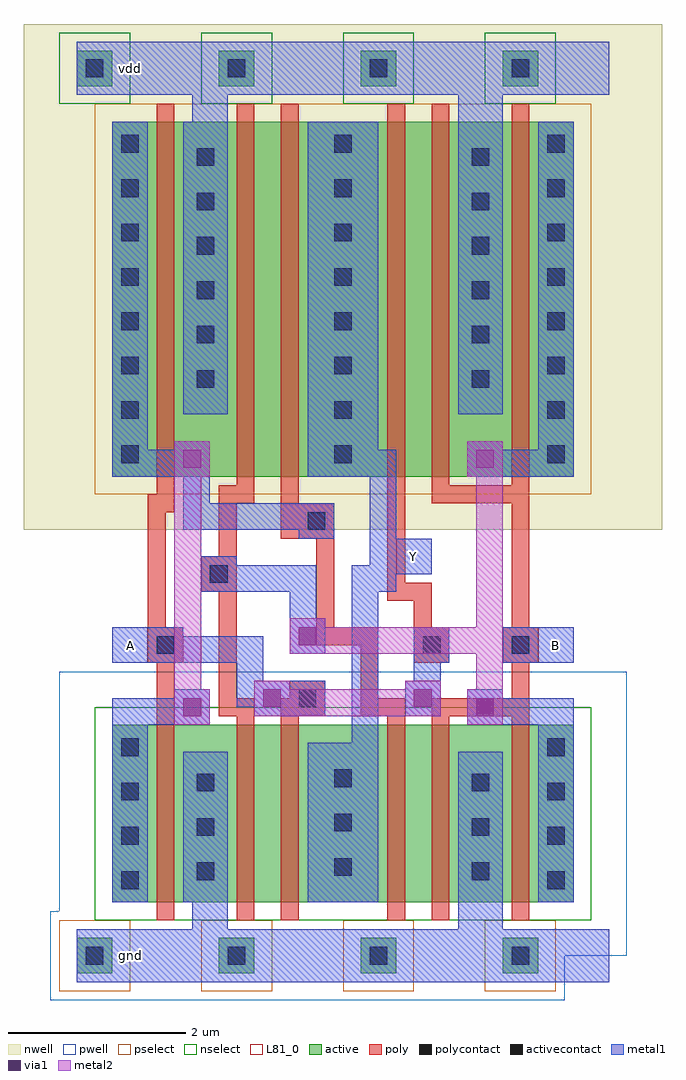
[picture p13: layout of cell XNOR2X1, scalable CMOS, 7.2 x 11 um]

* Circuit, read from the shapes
.subckt XNOR2X1 A B Y gnd vdd
M1 gnd A n1 gnd nfet w=2u l=0.2u
M2 n2 n3 gnd gnd nfet w=2u l=0.2u
M3 Y A n2 gnd nfet w=2u l=0.2u
M4 n4 n1 Y gnd nfet w=2u l=0.2u
M5 gnd B n4 gnd nfet w=2u l=0.2u
M6 n3 B gnd gnd nfet w=2u l=0.2u
M7 vdd A n1 vdd pfet w=4u l=0.2u
M8 n5 n3 vdd vdd pfet w=4u l=0.2u
M9 Y n1 n5 vdd pfet w=4u l=0.2u
M10 n6 A Y vdd pfet w=4u l=0.2u
M11 vdd B n6 vdd pfet w=4u l=0.2u
M12 n3 B vdd vdd pfet w=4u l=0.2u
.ends

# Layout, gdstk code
import gdstk
lib = gdstk.Library(unit=1e-6, precision=1e-09)
def R(c, l, rs):  # rectangles x0, y0, x1, y1
    for r in rs: c.add(gdstk.rectangle(r[:2], r[2:], *l))
def A(c, l, x, y, w, h, nx, ny, dx, dy):  # array of equal rectangles
    R(c, l, [(x+i*dx, y+j*dy, x+i*dx+w, y+j*dy+h) for i in range(nx) for j in range(ny)])
pwell = (41, 0)
nwell = (42, 0)
active = (43, 0)
pselect = (44, 0)
nselect = (45, 0)
poly = (46, 0)
polycontact = (47, 0)
activecontact = (48, 0)
metal1 = (49, 0)
via1 = (50, 0)
metal2 = (51, 0)
L81_0 = (81, 0)

xnor2x1 = lib.new_cell('XNOR2X1')
R(xnor2x1, pwell, [(-0.5,-0.5,5.3,0), (-0.5,0,6,0.5), (-0.4,0.5,6,3.2)])
R(xnor2x1, nwell, [(-0.8,4.8,6.4,10.5)])
A(xnor2x1, active, -0.2, -0.2, 0.4, 0.4, 4, 2, 1.6, 10)
R(xnor2x1, active, [(0.2,0.6,5.4,2.6), (0.2,5.4,5.4,9.4)])
A(xnor2x1, pselect, -0.4, -0.4, 0.8, 0.8, 4, 1, 1.6, 0)
R(xnor2x1, pselect, [(0,5.2,5.6,9.6)])
A(xnor2x1, nselect, -0.4, 9.6, 0.8, 0.8, 4, 1, 1.6, 0)
R(xnor2x1, nselect, [(0,0.4,5.6,2.8)])
R(xnor2x1, poly, [(0.7,0.4,0.9,3.3), (1.6,0.4,1.8,2.7), (2.1,0.4,2.3,2.7), (3.3,0.4,3.5,2.7), (3.8,0.4,4,2.7), (4.7,0.4,4.9,2.7), (1.4,2.7,1.8,2.9), (2.1,2.7,2.6,2.9), (3,2.7,3.5,2.9), (3.8,2.7,4.9,2.9), (1.4,2.9,1.6,4.1), (2.2,2.9,2.6,3.1), (3,2.9,3.2,3.5), (4.7,2.9,4.9,3.3), (0.6,3.3,1,3.7), (3.6,3.3,4,3.7), (4.6,3.3,5,3.7), (2.5,3.5,3.2,3.7), (0.6,3.7,0.8,5), (2.5,3.7,2.7,4.7), (3.6,3.7,3.8,4), (4.7,3.7,4.9,5.1), (3.3,4,3.8,4.2), (1.2,4.1,1.6,4.5), (3.3,4.2,3.5,9.6), (1.4,4.5,1.6,5.1), (2.1,4.7,2.7,5.1), (0.6,5,0.9,5.2), (1.4,5.1,1.8,5.3), (2.1,5.1,2.3,9.6), (3.8,5.1,4.9,5.3), (0.7,5.2,0.9,9.6), (1.6,5.3,1.8,9.6), (3.8,5.3,4,9.6), (4.7,5.3,4.9,9.6)])
R(xnor2x1, polycontact, [(2.3,2.8,2.5,3), (0.7,3.4,0.9,3.6), (3.7,3.4,3.9,3.6), (4.7,3.4,4.9,3.6), (1.3,4.2,1.5,4.4), (2.4,4.8,2.6,5)])
A(xnor2x1, activecontact, -0.1, -0.1, 0.2, 0.2, 4, 2, 1.6, 10)
A(xnor2x1, activecontact, 0.3, 0.75, 0.2, 0.2, 1, 4, 0, 0.5)
A(xnor2x1, activecontact, 5.1, 0.75, 0.2, 0.2, 1, 4, 0, 0.5)
A(xnor2x1, activecontact, 1.15, 0.85, 0.2, 0.2, 1, 3, 0, 0.5)
A(xnor2x1, activecontact, 4.25, 0.85, 0.2, 0.2, 1, 3, 0, 0.5)
A(xnor2x1, activecontact, 2.7, 0.9, 0.2, 0.2, 1, 3, 0, 0.5)
A(xnor2x1, activecontact, 0.3, 5.55, 0.2, 0.2, 3, 8, 2.4, 0.5)
A(xnor2x1, activecontact, 1.15, 6.4, 0.2, 0.2, 1, 6, 0, 0.5)
A(xnor2x1, activecontact, 4.25, 6.4, 0.2, 0.2, 1, 6, 0, 0.5)
R(xnor2x1, metal1, [(-0.2,-0.3,5.8,0.3), (1.1,0.3,1.5,0.6), (4.1,0.3,4.6,2.3), (0.2,0.6,0.6,2.6), (1,0.6,1.5,2.3), (2.4,0.6,3.2,2.4), (5,0.6,5.4,2.6), (2.9,2.4,3.2,4.1), (0.2,2.6,1.3,2.9), (4.2,2.6,5.4,2.9), (1.8,2.7,2.6,2.8), (3.5,2.7,3.9,3.1), (1.6,2.8,2.6,3.1), (0.9,2.9,1.3,3), (4.2,2.9,4.6,3), (1.6,3.1,1.9,3.3), (3.6,3.1,3.9,3.3), (0.2,3.3,1.9,3.6), (3.6,3.3,4,3.7), (4.6,3.3,5.4,3.7), (2.2,3.4,2.6,3.8), (0.2,3.6,1,3.7), (2.2,3.8,2.5,4.1), (1.2,4.1,2.5,4.4), (2.9,4.1,3.4,4.3), (2.9,4.3,3.8,4.4), (1.2,4.4,1.6,4.5), (3.1,4.4,3.8,4.7), (2.3,4.7,2.7,4.8), (3.1,4.7,3.4,5.4), (1,4.8,2.7,5.1), (1,5.1,1.3,5.4), (0.2,5.4,1.3,5.7), (2.4,5.4,3.4,5.7), (4.2,5.4,5.4,5.7), (0.2,5.7,0.6,9.4), (0.9,5.7,1.3,5.8), (2.4,5.7,3.2,9.4), (4.2,5.7,4.6,5.8), (5,5.7,5.4,9.4), (1,6.1,1.5,9.4), (4.1,6.1,4.6,9.7), (1.1,9.4,1.5,9.7), (-0.2,9.7,5.8,10.3)])
R(xnor2x1, via1, [(1,2.7,1.2,2.9), (4.3,2.7,4.5,2.9), (1.9,2.8,2.1,3), (3.6,2.8,3.8,3), (2.3,3.5,2.5,3.7), (1,5.5,1.2,5.7), (4.3,5.5,4.5,5.7)])
R(xnor2x1, metal2, [(0.9,2.6,1.3,3), (4.2,2.6,4.6,3), (1.8,2.7,3.9,3), (0.9,3,1.2,5.4), (1.8,3,2.2,3.1), (3.5,3,3.9,3.1), (4.3,3,4.6,3.4), (2.2,3.4,4.6,3.7), (2.2,3.7,2.6,3.8), (4.3,3.7,4.6,5.4), (0.9,5.4,1.3,5.8), (4.2,5.4,4.6,5.8)])
R(xnor2x1, L81_0, [(0.2,3.3,0.6,3.7), (5,3.3,5.4,3.7), (3.4,4.3,3.8,4.7)])
xnor2x1.add(gdstk.Label('A', (0.4,3.5), layer=49, texttype=0))
xnor2x1.add(gdstk.Label('B', (5.2,3.5), layer=49, texttype=0))
xnor2x1.add(gdstk.Label('gnd', (0.4,0), layer=49, texttype=0))
xnor2x1.add(gdstk.Label('vdd', (0.4,10), layer=49, texttype=0))
xnor2x1.add(gdstk.Label('Y', (3.6,4.5), layer=49, texttype=0))

lib.write_gds('XNOR2X1.gds')
